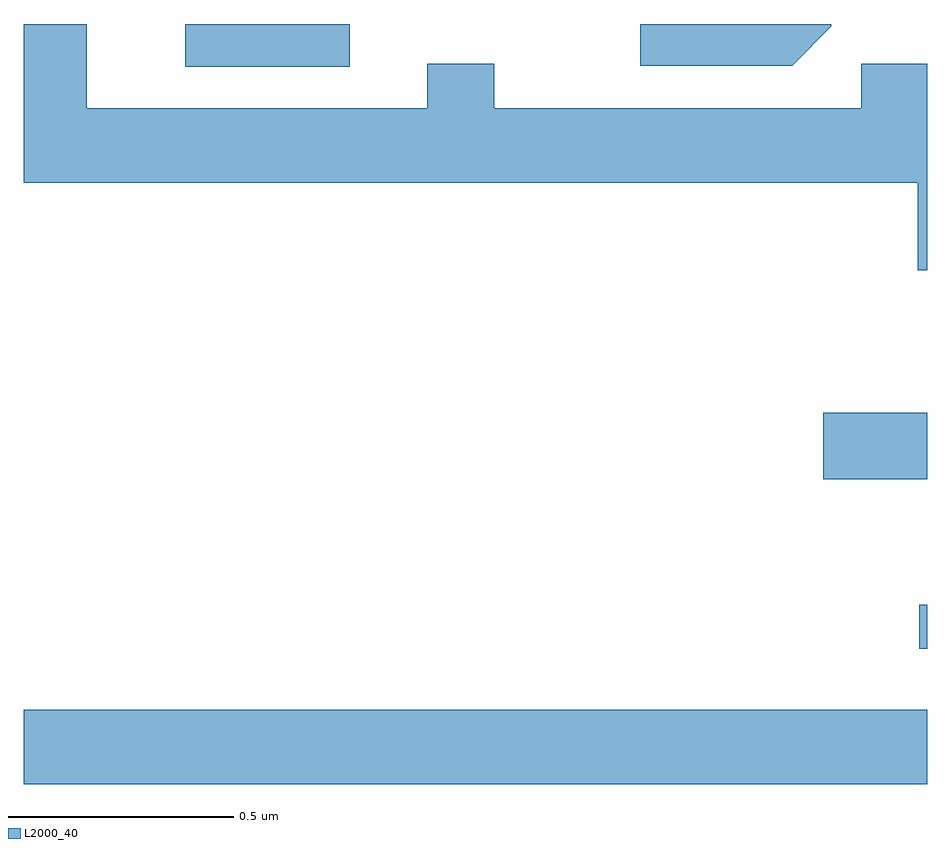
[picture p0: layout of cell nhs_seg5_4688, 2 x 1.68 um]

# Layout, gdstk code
import gdstk
lib = gdstk.Library(unit=1e-6, precision=1e-09)
def R(c, l, rs):  # rectangles x0, y0, x1, y1
    for r in rs: c.add(gdstk.rectangle(r[:2], r[2:], *l))
def P(c, l, *ps):  # polygons
    for p in ps: c.add(gdstk.Polygon(p, *l))
L2000_40 = (2000, 40)

nhs_seg5_4688 = lib.new_cell('nhs_seg5_4688')
R(nhs_seg5_4688, L2000_40, [(174,834.116,176,834.28), (175.983,834.416,176,834.513), (175.77,834.791,176,834.938), (174.357,835.704,174.721,835.799)])
P(nhs_seg5_4688, L2000_40, [(176,835.711),(175.854,835.711),(175.854,835.612),(175.041,835.612),(175.041,835.711),(174.893,835.711),(174.893,835.612),(174.139,835.612),(174.139,835.799),(174,835.799),(174,835.448),(175.979,835.448),(175.979,835.254),(176,835.254)],
  [(175.788,835.794),(175.788,835.799),(175.365,835.799),(175.365,835.707),(175.701,835.707)])

lib.write_gds('nhs_seg5_4688.gds')
